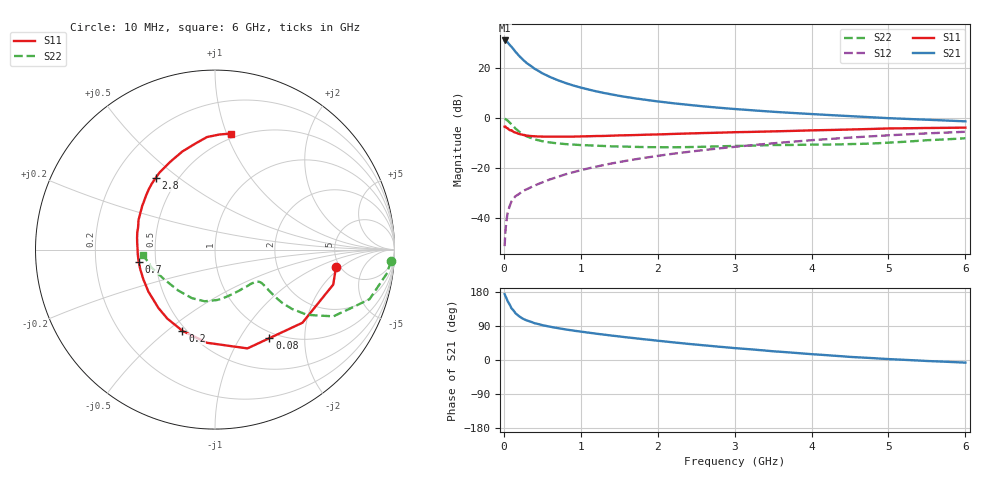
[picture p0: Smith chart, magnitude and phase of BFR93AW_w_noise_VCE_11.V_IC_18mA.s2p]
! Infineon Technologies  Discrete & RF Semiconductors
! BFR93AW
! VCE =  11. V,  IC =  18 mA
! Common Emitter S-Parameters:  Jan 2017
# GHz  S  MA  R  50
!  f  S11  S21  S12  S22
! GHz  MAG  ANG  MAG  ANG  MAG  ANG  MAG  ANG
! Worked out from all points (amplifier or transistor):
!   77 points, 10 MHz to 6 GHz, reference 50 ohm
!   highest |S21| = 31.1 dB at 10 MHz (marker M1)
!   |S21| within 3 dB of that: start of sweep to 112.2 MHz
!   unconditionally stable (mu >= 1): 722 MHz to 2.076 GHz
!   at 130 MHz: K = 0.40, MSG = 29.6 dB, |S12| = -31.9 dB
!   at 2.2 GHz: K = 0.99, MSG = 10.1 dB, |S12| = -14.1 dB
!   at 6 GHz: K = 0.85, MSG = 2.1 dB, |S12| = -5.4 dB
!   lowest NFmin = 1.47 dB at 450 MHz
!   S11 on the Smith chart (normalised r, x): 10 MHz: 4.61, -1.71; 80 MHz: 0.91, -1.35; 200 MHz: 0.48, -0.56; 700 MHz: 0.40, -0.07; 2.8 GHz: 0.38, +0.41; 6 GHz: 0.46, +1.04
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0.01  0.6812 -8.4  35.96 174.1  0.0028 76.2  0.9822 -3.7
0.02  0.6869 -16.5  35.77 169.3  0.0054 77.7  0.9684 -7.7
0.05  0.6352 -39.9  32.92 154.9  0.0131 71.6  0.9043 -17.8
0.08  0.5791 -58.4  28.9 144.7  0.0184 64.9  0.8122 -24.3
0.1  0.5794 -71.8  26.86 136.3  0.022 62.3  0.7577 -29.4
0.15  0.521 -95.0  21.54 123.7  0.0278 58.4  0.6295 -35.3
0.2  0.4875 -111.9  17.59 115.2  0.0311 57.4  0.5416 -37.6
0.25  0.4673 -124.6  14.77 108.7  0.0356 56.3  0.4799 -38.4
0.3  0.453 -134.1  12.62 104.2  0.0385 57.0  0.4352 -38.2
0.4  0.4387 -147.8  9.801 97.1  0.0454 59.1  0.381 -37.3
0.5  0.4322 -157.4  7.953 92.0  0.0526 61.3  0.3493 -36.3
0.6  0.4305 -165.2  6.712 87.8  0.0604 62.8  0.3297 -35.8
0.7  0.4306 -171.1  5.789 84.2  0.0676 65.3  0.316 -35.6
0.9  0.4318 179.1  4.545 77.7  0.0838 66.6  0.2993 -36.7
1.1  0.4392 171.2  3.768 72.2  0.1001 67.5  0.2889 -38.8
1.5  0.4569 158.9  2.818 62.2  0.134 67.6  0.274 -45.9
2.1  0.4824 144.1  2.091 48.8  0.1872 64.9  0.2649 -61.5
2.8  0.5176 129.8  1.628 35.0  0.2513 60.1  0.2768 -82.3
3.1  0.5321 123.9  1.498 29.9  0.2793 57.6  0.2825 -90.7
4.1  0.5798 106.9  1.195 14.1  0.3751 48.2  0.2988 -118.8
5.1  0.6307 92.8  0.994 1.5  0.4665 37.2  0.3331 -152.4
6  0.6527 82.1  0.872 -6.9  0.5396 26.9  0.4002 -175.5
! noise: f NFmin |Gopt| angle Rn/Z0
0.45  1.47  0.13  155  0.14
0.9  1.74  0.23  172  0.15
1.9  2.74  0.47  -140  0.22
2.4  3.36  0.54  -127  0.43
